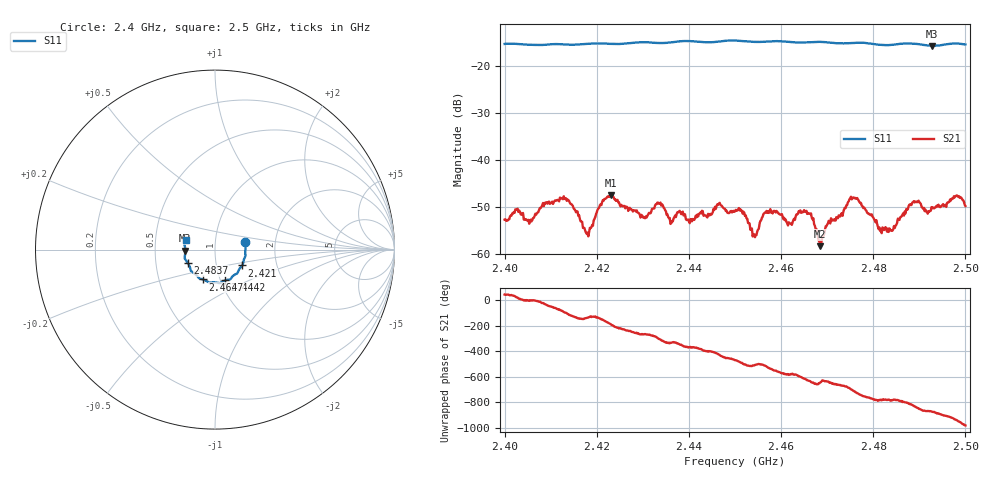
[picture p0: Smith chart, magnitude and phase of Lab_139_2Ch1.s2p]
# Hz S RI R 50
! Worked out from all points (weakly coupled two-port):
!   601 points, 2.4 GHz to 2.5 GHz, reference 50 ohm
!   highest |S21| = -47.42 dB at 2.4232 GHz (marker M1); lowest = -58.4 dB at 2.4685 GHz (marker M2)
!   lowest |S11| = -15.6 dB at 2.4928 GHz (marker M3), VSWR 1.40, Z = 35.8 - j0.39 ohm
!   |S11| at or under -10 dB: start of sweep to end of sweep
!   S12 and S22 are empty: the file has one direction only
!   S11 on the Smith chart (normalised r, x): 2.4 GHz: 1.40, +0.12; 2.421 GHz: 1.33, -0.24; 2.4442 GHz: 1.05, -0.37; 2.4647 GHz: 0.83, -0.29; 2.4837 GHz: 0.73, -0.11; 2.5 GHz: 0.72, +0.08
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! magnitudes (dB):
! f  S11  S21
! 2.4 GHz  -15.2  -52.7
! 2.4125 GHz  -15.3  -48.2
! 2.4167 GHz  -15.3  -53.1
! 2.4182 GHz  -15.2  -56.3
! 2.421 GHz  -15.1  -49.6
! 2.4232 GHz  -15.2  -47.4
! 2.43 GHz  -14.8  -52.2
! 2.4333 GHz  -15.0  -49.1
! 2.4362 GHz  -14.9  -53.4
! 2.4442 GHz  -14.9  -51.5
! 2.45 GHz  -14.5  -50.9
! 2.4543 GHz  -14.8  -56.4
! 2.4567 GHz  -14.7  -51.2
! 2.4647 GHz  -14.9  -51.1
! 2.4667 GHz  -14.8  -52.3
! 2.4685 GHz  -14.8  -58.4
! 2.4755 GHz  -15.0  -48.2
! 2.4833 GHz  -15.5  -55.3
! 2.4837 GHz  -15.4  -54.8
! 2.4888 GHz  -15.2  -48.7
! 2.4928 GHz  -15.6  -50.2
! 2.5 GHz  -15.3  -49.8
